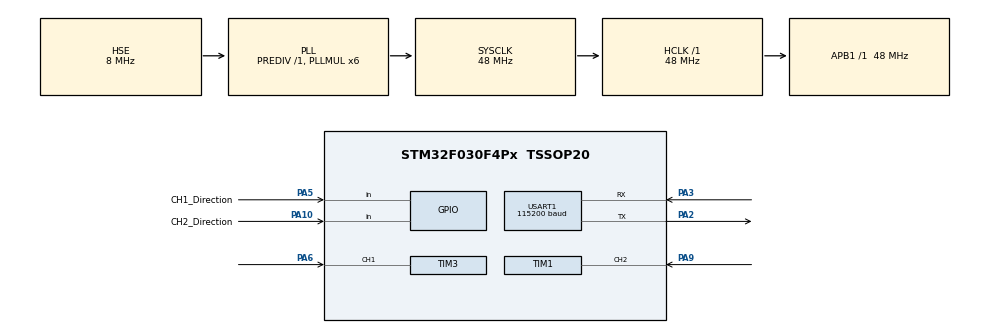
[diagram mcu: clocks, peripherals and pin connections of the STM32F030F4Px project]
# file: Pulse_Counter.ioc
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Dma.Request0=USART1_RX
Dma.Request1=TIM3_CH1/TRIG
Dma.TIM3_CH1/TRIG.1.Direction=DMA_PERIPH_TO_MEMORY
Dma.TIM3_CH1/TRIG.1.Instance=DMA1_Channel4
Dma.TIM3_CH1/TRIG.1.MemDataAlignment=DMA_MDATAALIGN_HALFWORD
Dma.TIM3_CH1/TRIG.1.MemInc=DMA_MINC_ENABLE
Dma.TIM3_CH1/TRIG.1.Mode=DMA_NORMAL
Dma.TIM3_CH1/TRIG.1.PeriphDataAlignment=DMA_PDATAALIGN_HALFWORD
Dma.TIM3_CH1/TRIG.1.PeriphInc=DMA_PINC_DISABLE
Dma.TIM3_CH1/TRIG.1.Priority=DMA_PRIORITY_LOW
Dma.USART1_RX.0.Direction=DMA_PERIPH_TO_MEMORY
Dma.USART1_RX.0.Instance=DMA1_Channel3
Dma.USART1_RX.0.MemDataAlignment=DMA_MDATAALIGN_BYTE
Dma.USART1_RX.0.MemInc=DMA_MINC_ENABLE
Dma.USART1_RX.0.Mode=DMA_CIRCULAR
Dma.USART1_RX.0.PeriphDataAlignment=DMA_PDATAALIGN_BYTE
Dma.USART1_RX.0.PeriphInc=DMA_PINC_DISABLE
Dma.USART1_RX.0.Priority=DMA_PRIORITY_LOW
Mcu.Family=STM32F0
Mcu.Name=STM32F030F4Px
Mcu.Package=TSSOP20
NVIC.DMA1_Channel2_3_IRQn=true\:0\:0\:false\:false\:true\:false\:true\:true
NVIC.DMA1_Channel4_5_IRQn=true\:0\:0\:false\:false\:true\:false\:true\:true
PA10.GPIO_Label=CH2_Direction
PA10.Signal=GPIO_Input
PA13.Mode=Serial_Wire
PA13.Signal=SYS_SWDIO
PA14.Mode=Serial_Wire
PA14.Signal=SYS_SWCLK
PA2.Mode=Asynchronous
PA2.Signal=USART1_TX
PA3.Mode=Asynchronous
PA3.Signal=USART1_RX
PA5.GPIO_Label=CH1_Direction
PA5.Signal=GPIO_Input
PA6.Signal=S_TIM3_CH1
PA9.Signal=S_TIM1_CH2
PF0-OSC_IN.Mode=HSE-External-Oscillator
PF0-OSC_IN.Signal=RCC_OSC_IN
PF1-OSC_OUT.Mode=HSE-External-Oscillator
PF1-OSC_OUT.Signal=RCC_OSC_OUT
ProjectManager.HeapSize=0x200
ProjectManager.StackSize=0x400
ProjectManager.TargetToolchain=STM32CubeIDE
RCC.AHBFreq_Value=48000000
RCC.APB1Freq_Value=48000000
RCC.APB1TimFreq_Value=48000000
RCC.HCLKFreq_Value=48000000
RCC.PLLMUL=RCC_PLL_MUL6
RCC.PLLSourceVirtual=RCC_PLLSOURCE_HSE
RCC.SYSCLKFreq_VALUE=48000000
RCC.SYSCLKSource=RCC_SYSCLKSOURCE_PLLCLK
SH.S_TIM1_CH2.0=TIM1_CH2,TriggerSource_TI2FP2
SH.S_TIM3_CH1.0=TIM3_CH1,TriggerSource_TI1FP1
TIM1.Slave_TriggerFilter=0
TIM3.Slave_TriggerFilter=0
USART1.BaudRate=115200
USART1.VirtualMode-Asynchronous=VM_ASYNC
VP_TIM1_VS_ControllerModeClock.Mode=Clock Mode
VP_TIM3_VS_ControllerModeClock.Mode=Clock Mode
board=custom

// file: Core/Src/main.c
/* USER CODE BEGIN Header */
/**
  ******************************************************************************
  * @file           : main.c
  * @brief          : Main program body
  ******************************************************************************
  * @attention
  *
  * Copyright (c) 2024 STMicroelectronics.
  * All rights reserved.
  *
  * This software is licensed under terms that can be found in the LICENSE file
  * in the root directory of this software component.
  * If no LICENSE file comes with this software, it is provided AS-IS.
  *
  ******************************************************************************
  */
/* USER CODE END Header */
#include "main.h"

/* USER CODE BEGIN Includes */
#include "string.h"
/* USER CODE END Includes */

TIM_HandleTypeDef htim1;
TIM_HandleTypeDef htim3;
DMA_HandleTypeDef hdma_tim3_ch1_trig;

UART_HandleTypeDef huart1;
DMA_HandleTypeDef hdma_usart1_rx;

void SystemClock_Config(void);
static void MX_GPIO_Init(void);
static void MX_DMA_Init(void);
static void MX_TIM3_Init(void);
static void MX_USART1_UART_Init(void);
static void MX_TIM1_Init(void);

int main(void)
{
  /* USER CODE BEGIN 1 */
	uint16_t Counter1=0;
	uint16_t Counter2=0;
	uint16_t temp1=0;
	uint16_t temp2=0;
	uint8_t string[5],string_recive[6];
  /* USER CODE END 1 */

  /* MCU Configuration--------------------------------------------------------*/

  /* Reset of all peripherals, Initializes the Flash interface and the Systick. */
  HAL_Init();

  /* Configure the system clock */
  SystemClock_Config();

  /* Initialize all configured peripherals */
  MX_GPIO_Init();
  MX_DMA_Init();
  MX_TIM3_Init();
  MX_USART1_UART_Init();
  MX_TIM1_Init();
  /* USER CODE BEGIN 2 */
  HAL_TIM_Base_Start(&htim3);
  HAL_TIM_Base_Start(&htim1);
  HAL_UART_Receive_DMA(&huart1, string_recive, 6);
  /* USER CODE END 2 */

  /* Infinite loop */
  /* USER CODE BEGIN WHILE */
  HAL_UART_Transmit(&huart1, "Chanel 1 count :" , 16, HAL_MAX_DELAY);
  HAL_UART_Transmit(&huart1, "---> 0", strlen("---> 0"), HAL_MAX_DELAY);
  HAL_UART_Transmit(&huart1, "\n\r" , strlen("\n\r"), HAL_MAX_DELAY);
  HAL_UART_Transmit(&huart1, "Chanel 2 count :" , 16, HAL_MAX_DELAY);
  HAL_UART_Transmit(&huart1, "---> 0", strlen("---> 0"), HAL_MAX_DELAY);
  HAL_UART_Transmit(&huart1, "\n\r" , strlen("\n\r"), HAL_MAX_DELAY);
  while (1)
  {
    /* USER CODE END WHILE */

    /* USER CODE BEGIN 3 */
	  Counter1 = __HAL_TIM_GET_COUNTER(&htim3);
	  Counter2 = __HAL_TIM_GET_COUNTER(&htim1);
	  if(Counter1 != temp1)
	  {
		  while(temp1 != Counter1)
		  {
			  Counter1 = __HAL_TIM_GET_COUNTER(&htim3);
			  HAL_Delay(500);
			  temp1 = Counter1;
		  }
		  itoa(Counter1,string,10);
		  HAL_UART_Transmit(&huart1, "Chanel 1 count :" , 16, HAL_MAX_DELAY);
		  if(HAL_GPIO_ReadPin(CH1_Direction_GPIO_Port, CH1_Direction_Pin))
		  {
			  HAL_UART_Transmit(&huart1, "--->  ", strlen("--->  "), HAL_MAX_DELAY);
		  }
		  else
		  {
			  HAL_UART_Transmit(&huart1, "<---  ", strlen("--->  "), HAL_MAX_DELAY);
		  }
		  HAL_UART_Transmit(&huart1, string , strlen(string), HAL_MAX_DELAY);
		  HAL_UART_Transmit(&huart1, "\n\r" , strlen("\n\r"), HAL_MAX_DELAY);

	  }

	  if(Counter2 != temp2)
	  {
		  while(temp2 != Counter2)
		  {
			  Counter2 = __HAL_TIM_GET_COUNTER(&htim1);
			  HAL_Delay(500);
			  temp2 = Counter2;
		  }
		  HAL_Delay(1000);
		  Counter2 = __HAL_TIM_GET_COUNTER(&htim1);
		  itoa(Counter2,string,10);
		  HAL_UART_Transmit(&huart1, "Chanel 2 count :" , 16, HAL_MAX_DELAY);
		  if(HAL_GPIO_ReadPin(CH2_Direction_GPIO_Port, CH2_Direction_Pin))
		  {
			  HAL_UART_Transmit(&huart1, "--->  " , strlen("--->  "), HAL_MAX_DELAY);
		  }
		  else
		  {
			  HAL_UART_Transmit(&huart1, "<---  ", strlen("--->  "), HAL_MAX_DELAY);
		  }
		  HAL_UART_Transmit(&huart1, string , strlen(string), HAL_MAX_DELAY);
		  HAL_UART_Transmit(&huart1, "\n\r" , strlen("\n\r"), HAL_MAX_DELAY);
		  temp2 = Counter2;
	  }
//	  if(memcmp(string_recive,"clear",5))
//	  {
//		  memset(string_recive ,0 ,6 );
//		  __HAL_TIM_SetCounter(&htim1, 0);
//		  __HAL_TIM_SetCounter(&htim3, 0);
//	  }
//	  HAL_Delay(1000);
  }
  /* USER CODE END 3 */
}

void SystemClock_Config(void)
{
  RCC_OscInitTypeDef RCC_OscInitStruct = {0};
  RCC_ClkInitTypeDef RCC_ClkInitStruct = {0};
  RCC_PeriphCLKInitTypeDef PeriphClkInit = {0};

  /** Initializes the RCC Oscillators according to the specified parameters
  * in the RCC_OscInitTypeDef structure.
  */
  RCC_OscInitStruct.OscillatorType = RCC_OSCILLATORTYPE_HSE;
  RCC_OscInitStruct.HSEState = RCC_HSE_ON;
  RCC_OscInitStruct.PLL.PLLState = RCC_PLL_ON;
  RCC_OscInitStruct.PLL.PLLSource = RCC_PLLSOURCE_HSE;
  RCC_OscInitStruct.PLL.PLLMUL = RCC_PLL_MUL6;
  RCC_OscInitStruct.PLL.PREDIV = RCC_PREDIV_DIV1;
  if (HAL_RCC_OscConfig(&RCC_OscInitStruct) != HAL_OK)
  {
    Error_Handler();
  }

  /** Initializes the CPU, AHB and APB buses clocks
  */
  RCC_ClkInitStruct.ClockType = RCC_CLOCKTYPE_HCLK|RCC_CLOCKTYPE_SYSCLK
                              |RCC_CLOCKTYPE_PCLK1;
  RCC_ClkInitStruct.SYSCLKSource = RCC_SYSCLKSOURCE_PLLCLK;
  RCC_ClkInitStruct.AHBCLKDivider = RCC_SYSCLK_DIV1;
  RCC_ClkInitStruct.APB1CLKDivider = RCC_HCLK_DIV1;

  if (HAL_RCC_ClockConfig(&RCC_ClkInitStruct, FLASH_LATENCY_1) != HAL_OK)
  {
    Error_Handler();
  }
  PeriphClkInit.PeriphClockSelection = RCC_PERIPHCLK_USART1;
  PeriphClkInit.Usart1ClockSelection = RCC_USART1CLKSOURCE_PCLK1;
  if (HAL_RCCEx_PeriphCLKConfig(&PeriphClkInit) != HAL_OK)
  {
    Error_Handler();
  }
}

static void MX_TIM1_Init(void)
{

  TIM_SlaveConfigTypeDef sSlaveConfig = {0};
  TIM_MasterConfigTypeDef sMasterConfig = {0};

  htim1.Instance = TIM1;
  htim1.Init.Prescaler = 0;
  htim1.Init.CounterMode = TIM_COUNTERMODE_UP;
  htim1.Init.Period = 65535;
  htim1.Init.ClockDivision = TIM_CLOCKDIVISION_DIV1;
  htim1.Init.RepetitionCounter = 0;
  htim1.Init.AutoReloadPreload = TIM_AUTORELOAD_PRELOAD_DISABLE;
  if (HAL_TIM_Base_Init(&htim1) != HAL_OK)
  {
    Error_Handler();
  }
  sSlaveConfig.SlaveMode = TIM_SLAVEMODE_EXTERNAL1;
  sSlaveConfig.InputTrigger = TIM_TS_TI2FP2;
  sSlaveConfig.TriggerPolarity = TIM_TRIGGERPOLARITY_RISING;
  sSlaveConfig.TriggerFilter = 0;
  if (HAL_TIM_SlaveConfigSynchro(&htim1, &sSlaveConfig) != HAL_OK)
  {
    Error_Handler();
  }
  sMasterConfig.MasterOutputTrigger = TIM_TRGO_RESET;
  sMasterConfig.MasterSlaveMode = TIM_MASTERSLAVEMODE_DISABLE;
  if (HAL_TIMEx_MasterConfigSynchronization(&htim1, &sMasterConfig) != HAL_OK)
  {
    Error_Handler();
  }

}

static void MX_TIM3_Init(void)
{

  TIM_SlaveConfigTypeDef sSlaveConfig = {0};
  TIM_MasterConfigTypeDef sMasterConfig = {0};

  htim3.Instance = TIM3;
  htim3.Init.Prescaler = 0;
  htim3.Init.CounterMode = TIM_COUNTERMODE_UP;
  htim3.Init.Period = 65535;
  htim3.Init.ClockDivision = TIM_CLOCKDIVISION_DIV1;
  htim3.Init.AutoReloadPreload = TIM_AUTORELOAD_PRELOAD_DISABLE;
  if (HAL_TIM_Base_Init(&htim3) != HAL_OK)
  {
    Error_Handler();
  }
  sSlaveConfig.SlaveMode = TIM_SLAVEMODE_EXTERNAL1;
  sSlaveConfig.InputTrigger = TIM_TS_TI1FP1;
  sSlaveConfig.TriggerPolarity = TIM_TRIGGERPOLARITY_RISING;
  sSlaveConfig.TriggerFilter = 0;
  if (HAL_TIM_SlaveConfigSynchro(&htim3, &sSlaveConfig) != HAL_OK)
  {
    Error_Handler();
  }
  sMasterConfig.MasterOutputTrigger = TIM_TRGO_RESET;
  sMasterConfig.MasterSlaveMode = TIM_MASTERSLAVEMODE_DISABLE;
  if (HAL_TIMEx_MasterConfigSynchronization(&htim3, &sMasterConfig) != HAL_OK)
  {
    Error_Handler();
  }

}

static void MX_USART1_UART_Init(void)
{

  huart1.Instance = USART1;
  huart1.Init.BaudRate = 115200;
  huart1.Init.WordLength = UART_WORDLENGTH_8B;
  huart1.Init.StopBits = UART_STOPBITS_1;
  huart1.Init.Parity = UART_PARITY_NONE;
  huart1.Init.Mode = UART_MODE_TX_RX;
  huart1.Init.HwFlowCtl = UART_HWCONTROL_NONE;
  huart1.Init.OverSampling = UART_OVERSAMPLING_16;
  huart1.Init.OneBitSampling = UART_ONE_BIT_SAMPLE_DISABLE;
  huart1.AdvancedInit.AdvFeatureInit = UART_ADVFEATURE_NO_INIT;
  if (HAL_UART_Init(&huart1) != HAL_OK)
  {
    Error_Handler();
  }

}

static void MX_DMA_Init(void)
{

  /* DMA controller clock enable */
  __HAL_RCC_DMA1_CLK_ENABLE();

  /* DMA interrupt init */
  /* DMA1_Channel2_3_IRQn interrupt configuration */
  HAL_NVIC_SetPriority(DMA1_Channel2_3_IRQn, 0, 0);
  HAL_NVIC_EnableIRQ(DMA1_Channel2_3_IRQn);
  /* DMA1_Channel4_5_IRQn interrupt configuration */
  HAL_NVIC_SetPriority(DMA1_Channel4_5_IRQn, 0, 0);
  HAL_NVIC_EnableIRQ(DMA1_Channel4_5_IRQn);

}

static void MX_GPIO_Init(void)
{
  GPIO_InitTypeDef GPIO_InitStruct = {0};

  /* GPIO Ports Clock Enable */
  __HAL_RCC_GPIOF_CLK_ENABLE();
  __HAL_RCC_GPIOA_CLK_ENABLE();

  /*Configure GPIO pins : CH1_Direction_Pin CH2_Direction_Pin */
  GPIO_InitStruct.Pin = CH1_Direction_Pin|CH2_Direction_Pin;
  GPIO_InitStruct.Mode = GPIO_MODE_INPUT;
  GPIO_InitStruct.Pull = GPIO_NOPULL;
  HAL_GPIO_Init(GPIOA, &GPIO_InitStruct);

}

void Error_Handler(void)
{
  __disable_irq();
  while (1)
  {
  }
}
